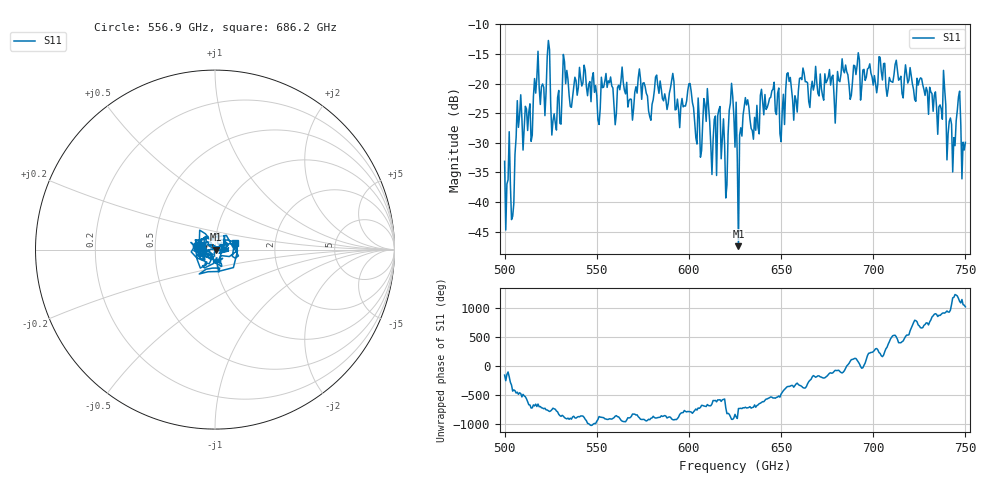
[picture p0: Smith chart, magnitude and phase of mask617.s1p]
!Created with skrf (http://scikit-rf.org).
# GHz S MA R 50.0
!freq magS11 angS11
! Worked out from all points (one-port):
!   401 points, 500 GHz to 750 GHz, reference 50 ohm
!   lowest |S11| = -47.4 dB at 626.9 GHz (marker M1), VSWR 1.01, Z = 50.4 - j0.111 ohm
!   |S11| at or under -10 dB: start of sweep to end of sweep
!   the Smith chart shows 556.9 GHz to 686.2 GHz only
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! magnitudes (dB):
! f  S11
! 500 GHz  -33.1
! 504.4 GHz  -42.4
! 507.5 GHz  -27.4
! 513.8 GHz  -23.4
! 517.5 GHz  -18.9
! 523.8 GHz  -12.7
! 526.9 GHz  -25.1
! 531.2 GHz  -20.7
! 562.5 GHz  -21.0
! 579.4 GHz  -26.2
! 590.6 GHz  -19.5
! 593.8 GHz  -22.6
! 600.6 GHz  -20.0
! 605.6 GHz  -25.9
! 609.4 GHz  -26.4
! 619.4 GHz  -30.4
! 622.5 GHz  -23.3
! 625 GHz  -30.7
! 626.9 GHz  -47.4
! 631.2 GHz  -23.6
! 635 GHz  -29.4
! 656.2 GHz  -22.7
! 687.5 GHz  -22.7
! 718.8 GHz  -19.9
! 738.1 GHz  -17.8
! 743.1 GHz  -34.9
! 746.2 GHz  -22.2
! 750 GHz  -29.9
